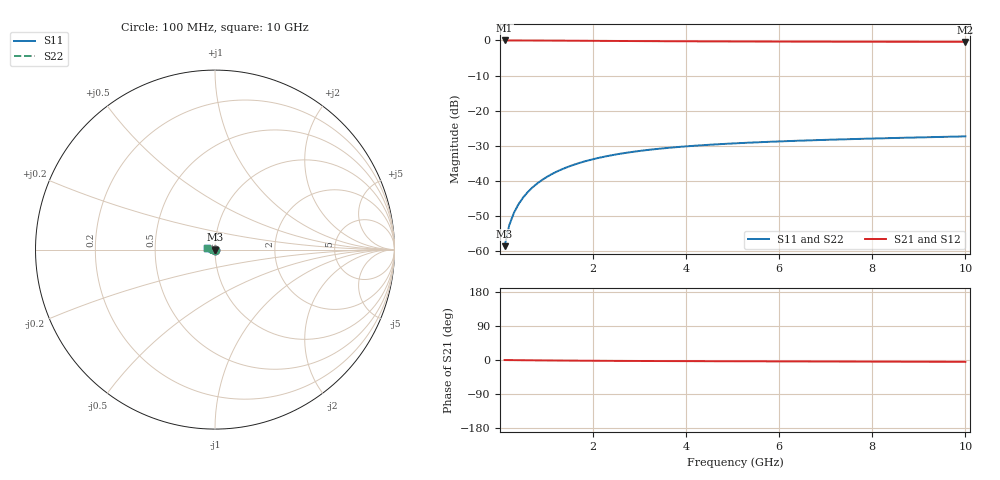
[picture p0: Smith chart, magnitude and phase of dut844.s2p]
! Touchstone file exported from HFSS 2024.1.0
!  File:  C:/UserFiles/LocalFiles/RDL_TSV_Batchsim/temp_TSV1_844_1779880416.aedt
!  Generated:  07:18:48 PM May 27, 2026
!  Design:  TSV1
!  Project:  temp_TSV1_844_1779880416
!  Setup:  Setup1
!  Solution:  Sweep
! Variables:
!  dtsv = 10.81um
!  hbump = 3um
!  htsv = 73.97um
!  lrdl = 252.1521522um
!  p = 40
!  p1 = 56.52um
!  t = 500um
!  trdl = 3um
!  wrdl = 24.89489489um
# GHz S MA R 50.000000
! Terminal data exported
! Port[1] = TSV22_T1
! Port[2] = TSV22_T2
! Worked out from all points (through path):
!   100 points, 100 MHz to 10 GHz, reference 50 ohm
!   highest |S21| = 0.00 dB at 100 MHz (marker M1); lowest = -0.4 dB at 10 GHz (marker M2)
!   lowest |S11| = -58.6 dB at 100 MHz (marker M3), VSWR 1.00, Z = 50 - j0.117 ohm
!   |S11| at or under -10 dB: start of sweep to end of sweep
!   |S22| runs from -58.6 to -27.3 dB; largest |S21 - S12| = 9.2e-15
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0.1  0.001176 -86.3  0.9998 -0.1  0.9998 -0.1  0.001176 -86.3
! Gamma 0 0 0 0
! Port Impedance 50 0 50 0
0.2  0.002343 -91.0  0.9997 -0.2  0.9997 -0.2  0.002343 -91.0
0.3  0.00351 -93.9  0.9995 -0.4  0.9995 -0.4  0.00351 -93.9
0.4  0.004672 -96.3  0.9992 -0.5  0.9992 -0.5  0.004672 -96.3
0.5  0.005824 -98.6  0.9988 -0.6  0.9988 -0.6  0.005824 -98.6
0.6  0.006962 -100.8  0.9984 -0.7  0.9984 -0.7  0.006962 -100.8
0.7  0.008084 -102.9  0.9978 -0.8  0.9978 -0.8  0.008084 -102.9
0.8  0.009186 -104.9  0.9973 -0.9  0.9973 -0.9  0.009186 -104.9
0.9  0.01027 -106.9  0.9966 -1.0  0.9966 -1.0  0.01027 -106.9
1.1  0.01235 -110.8  0.9952 -1.3  0.9952 -1.3  0.01235 -110.8
1.4  0.01528 -116.3  0.9929 -1.5  0.9929 -1.5  0.01528 -116.3
1.6  0.01709 -119.9  0.9912 -1.7  0.9912 -1.7  0.01709 -119.9
1.8  0.01879 -123.2  0.9894 -1.9  0.9894 -1.9  0.01879 -123.2
2.1  0.02111 -128.0  0.9867 -2.1  0.9867 -2.1  0.02111 -128.0
2.5  0.02383 -133.8  0.9832 -2.3  0.9832 -2.3  0.02383 -133.8
2.9  0.02616 -139.1  0.9799 -2.5  0.9799 -2.5  0.02616 -139.1
3.4  0.02861 -145.1  0.9762 -2.8  0.9762 -2.8  0.02861 -145.1
4.2  0.03172 -153.4  0.9712 -3.1  0.9712 -3.1  0.03172 -153.4
5.1  0.03438 -161.3  0.9668 -3.4  0.9668 -3.4  0.03438 -161.3
6.7  0.03787 -172.6  0.9614 -3.9  0.9614 -3.9  0.03787 -172.6
8.4  0.0407 177.7  0.9577 -4.4  0.9577 -4.4  0.0407 177.7
10  0.04303 170.1  0.9554 -4.9  0.9554 -4.9  0.04303 170.1
